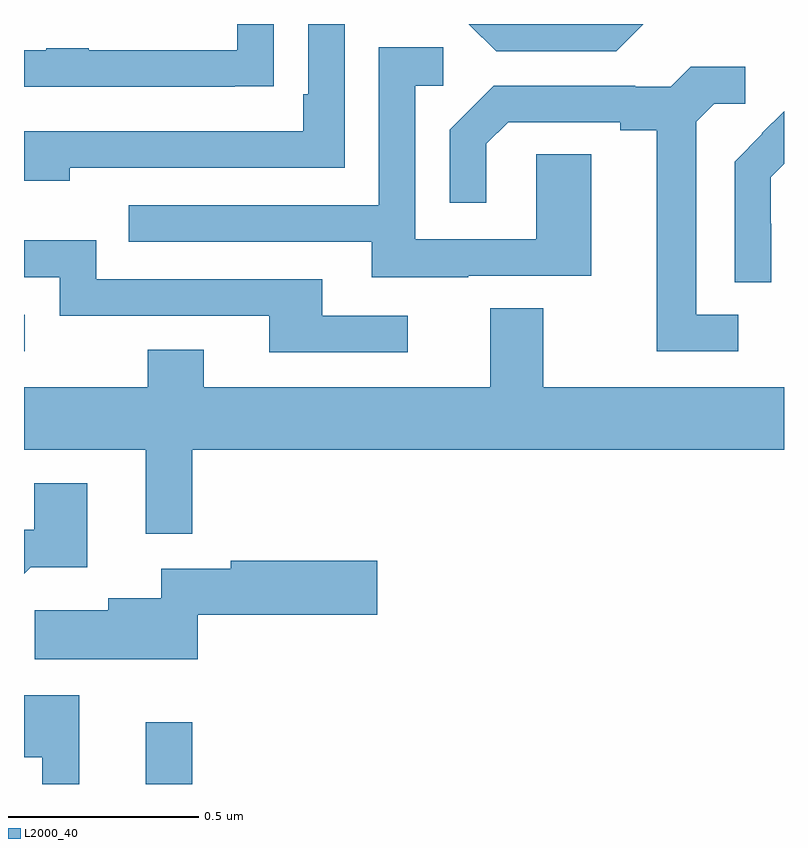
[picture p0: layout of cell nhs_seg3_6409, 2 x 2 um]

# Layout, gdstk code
import gdstk
lib = gdstk.Library(unit=1e-6, precision=1e-09)
def R(c, l, rs):  # rectangles x0, y0, x1, y1
    for r in rs: c.add(gdstk.rectangle(r[:2], r[2:], *l))
def P(c, l, *ps):  # polygons
    for p in ps: c.add(gdstk.Polygon(p, *l))
L2000_40 = (2000, 40)

nhs_seg3_6409 = lib.new_cell('nhs_seg3_6409')
R(nhs_seg3_6409, L2000_40, [(191.321,669.4,191.443,669.562), (191,670.539,191.002,670.635)])
P(nhs_seg3_6409, L2000_40, [(191.12,671.022),(191.844,671.022),(191.844,671.4),(191.748,671.4),(191.748,671.215),(191.735,671.215),(191.735,671.118),(191,671.118),(191,670.988),(191.12,670.988)],
  [(192.63,671.4),(192.171,671.4),(192.243,671.328),(192.558,671.328)],
  [(191.555,671.236),(191.657,671.236),(191.657,671.4),(191.561,671.4),(191.561,671.331),(191.171,671.331),(191.171,671.336),(191.059,671.336),(191.059,671.331),(191,671.331),(191,671.235),(191.555,671.235)],
  [(192.169,670.737),(192.493,670.737),(192.493,671.057),(192.348,671.057),(192.348,670.833),(192.03,670.833),(192.03,671.238),(192.103,671.238),(192.103,671.339),(191.934,671.339),(191.934,670.923),(191.275,670.923),(191.275,670.827),(191.915,670.827),(191.915,670.733),(192.169,670.733)],
  [(192.88,670.635),(192.769,670.635),(192.769,671.143),(192.816,671.19),(192.898,671.19),(192.898,671.287),(192.754,671.287),(192.702,671.235),(192.608,671.235),(192.608,671.238),(192.236,671.238),(192.12,671.122),(192.12,670.929),(192.217,670.929),(192.217,671.085),(192.274,671.142),(192.569,671.142),(192.569,671.12),(192.665,671.12),(192.665,670.539),(192.88,670.539)],
  [(192.966,670.874),(192.965,670.874),(192.965,670.997),(193,671.032),(193,671.17),(192.942,671.112),(192.943,671.111),(192.87,671.038),(192.87,670.72),(192.966,670.72)],
  [(192.01,670.632),(191.785,670.632),(191.785,670.728),(191.19,670.728),(191.19,670.831),(191,670.831),(191,670.734),(191.094,670.734),(191.094,670.632),(191.645,670.632),(191.645,670.536),(192.01,670.536)],
  [(191.443,670.28),(193,670.28),(193,670.444),(192.367,670.444),(192.367,670.652),(192.227,670.652),(192.227,670.444),(191.473,670.444),(191.473,670.543),(191.326,670.543),(191.326,670.444),(191,670.444),(191,670.28),(191.321,670.28),(191.321,670.059),(191.443,670.059)],
  [(191.018,669.971),(191.167,669.971),(191.167,670.192),(191.027,670.192),(191.027,670.069),(191,670.069),(191,669.953)],
  [(191.457,669.845),(191.929,669.845),(191.929,669.987),(191.544,669.987),(191.544,669.967),(191.361,669.967),(191.361,669.889),(191.222,669.889),(191.222,669.857),(191.028,669.857),(191.028,669.728),(191.457,669.728)],
  [(191.146,669.634),(191,669.634),(191,669.47),(191.048,669.47),(191.048,669.4),(191.146,669.4)])

lib.write_gds('nhs_seg3_6409.gds')
